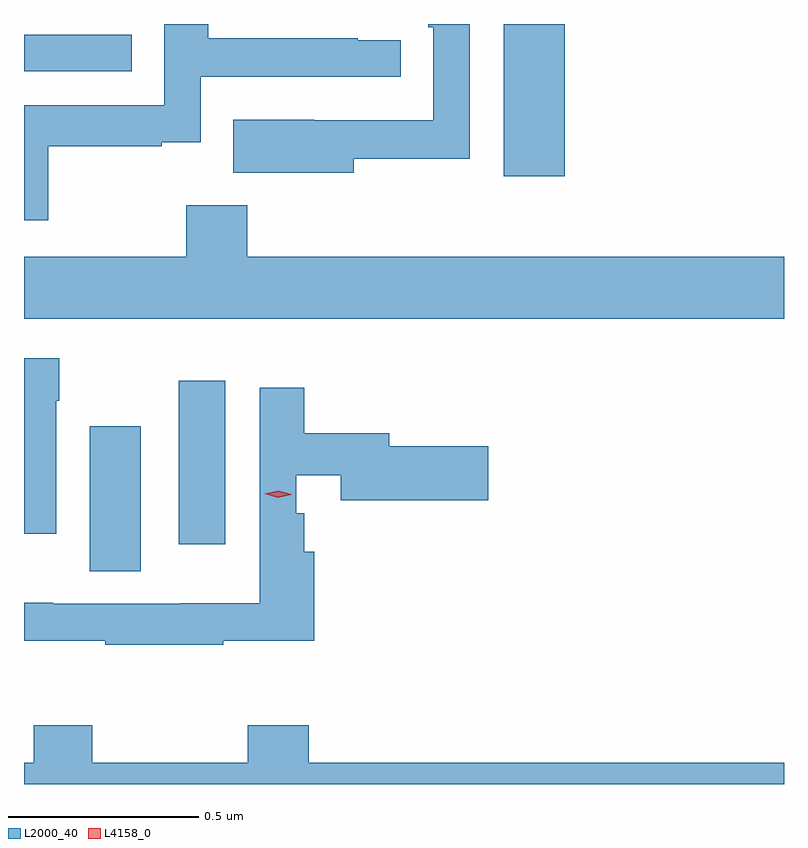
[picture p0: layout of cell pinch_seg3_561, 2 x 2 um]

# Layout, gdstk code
import gdstk
lib = gdstk.Library(unit=1e-6, precision=1e-09)
def R(c, l, rs):  # rectangles x0, y0, x1, y1
    for r in rs: c.add(gdstk.rectangle(r[:2], r[2:], *l))
def P(c, l, *ps):  # polygons
    for p in ps: c.add(gdstk.Polygon(p, *l))
L2000_40 = (2000, 40)
L4158_0 = (4158, 0)

pinch_seg3_561 = lib.new_cell('pinch_seg3_561')
R(pinch_seg3_561, L2000_40, [(1102.412,698.92,1102.546,699.301), (1102.646,698.991,1102.768,699.421), (1103.501,699.96,1103.662,700.36), (1102.239,700.236,1102.523,700.332)])
P(pinch_seg3_561, L2000_40, [(1103.107,700.006),(1103.412,700.006),(1103.412,700.36),(1103.303,700.36),(1103.303,700.352),(1103.316,700.352),(1103.316,700.107),(1103.003,700.107),(1103.003,700.108),(1102.789,700.108),(1102.789,699.968),(1103.107,699.968)],
  [(1102.303,700.038),(1102.601,700.038),(1102.601,700.049),(1102.704,700.049),(1102.704,700.221),(1103.23,700.221),(1103.23,700.317),(1103.117,700.317),(1103.117,700.322),(1102.724,700.322),(1102.724,700.36),(1102.608,700.36),(1102.608,700.146),(1102.239,700.146),(1102.239,699.843),(1102.303,699.843)],
  [(1104.239,699.748),(1102.826,699.748),(1102.826,699.883),(1102.666,699.883),(1102.666,699.748),(1102.239,699.748),(1102.239,699.584),(1104.239,699.584)],
  [(1102.324,699.368),(1102.332,699.368),(1102.332,699.481),(1102.239,699.481),(1102.239,699.018),(1102.324,699.018)],
  [(1102.763,698.737),(1103.003,698.737),(1103.003,698.971),(1102.976,698.971),(1102.976,699.072),(1102.956,699.072),(1102.956,699.173),(1103.072,699.173),(1103.072,699.107),(1103.461,699.107),(1103.461,699.249),(1103.2,699.249),(1103.2,699.283),(1102.976,699.283),(1102.976,699.403),(1102.86,699.403),(1102.86,698.836),(1102.65,698.836),(1102.65,698.835),(1102.316,698.835),(1102.316,698.837),(1102.239,698.837),(1102.239,698.737),(1102.453,698.737),(1102.453,698.727),(1102.763,698.727)],
  [(1104.239,698.416),(1102.988,698.416),(1102.988,698.515),(1102.828,698.515),(1102.828,698.416),(1102.419,698.416),(1102.419,698.515),(1102.264,698.515),(1102.264,698.416),(1102.239,698.416),(1102.239,698.36),(1104.239,698.36)])
P(pinch_seg3_561, L4158_0, [(1102.907,699.113),(1102.873,699.124),(1102.873,699.124),(1102.873,699.124),(1102.908,699.132),(1102.942,699.122),(1102.942,699.121),(1102.942,699.121)])

lib.write_gds('pinch_seg3_561.gds')
